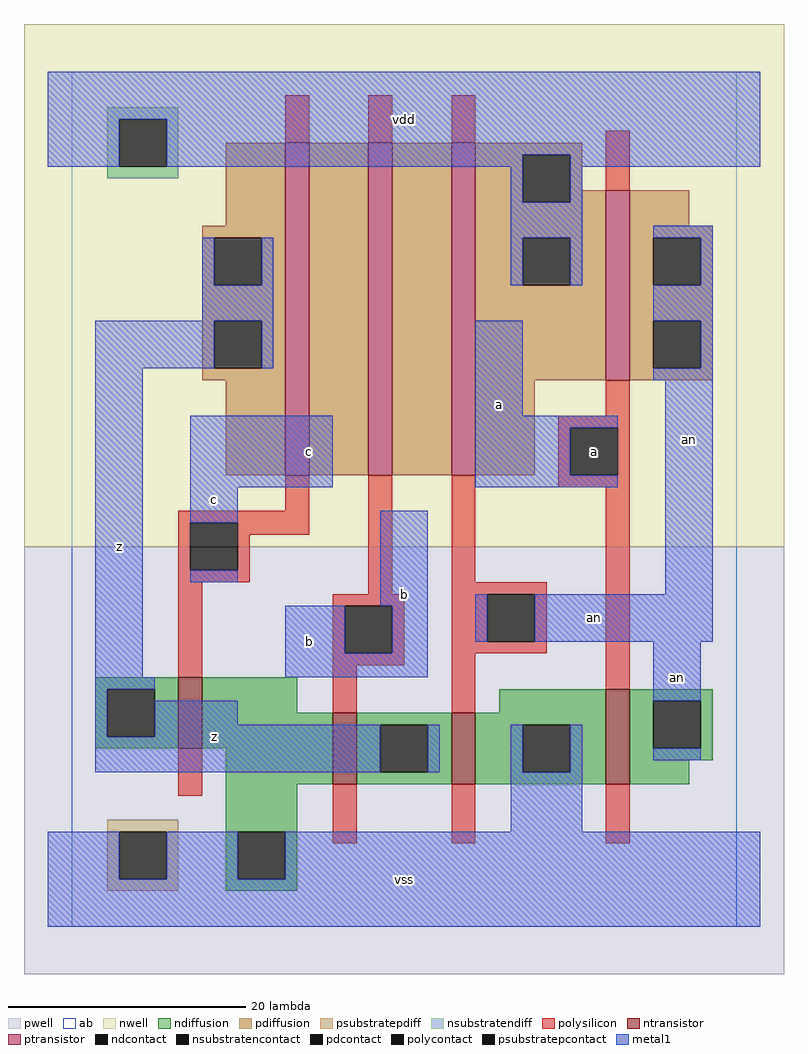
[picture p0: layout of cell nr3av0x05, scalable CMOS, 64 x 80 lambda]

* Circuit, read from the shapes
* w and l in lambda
.subckt nr3av0x05 a an b c vdd vss z
M1 vss c z vss nfet w=6 l=2
M2 z b vss vss nfet w=6 l=2
M3 vss an z vss nfet w=6 l=2
M4 an a vss vss nfet w=8 l=2
M5 n1 c z vdd pfet w=28 l=2
M6 n2 b n1 vdd pfet w=28 l=2
M7 vdd an n2 vdd pfet w=28 l=2
M8 an a vdd vdd pfet w=16 l=2
.ends

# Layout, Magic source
magic
tech scmos
<< ab >>
rect 0 0 56 72
<< pwell >>
rect -4 -4 60 32
<< nwell >>
rect -4 32 60 76
<< polysilicon >>
rect 18 66 20 70
rect 25 66 27 70
rect 32 66 34 70
rect 45 62 47 67
rect 45 43 47 46
rect 41 42 47 43
rect 41 38 42 42
rect 46 38 47 42
rect 18 35 20 38
rect 9 34 20 35
rect 9 30 10 34
rect 14 33 20 34
rect 14 30 15 33
rect 9 29 15 30
rect 9 21 11 29
rect 25 28 27 38
rect 32 29 34 38
rect 41 37 47 38
rect 32 28 40 29
rect 22 27 28 28
rect 22 23 23 27
rect 27 23 28 27
rect 22 22 28 23
rect 32 24 35 28
rect 39 24 40 28
rect 32 23 40 24
rect 22 18 24 22
rect 32 18 34 23
rect 45 20 47 37
rect 9 11 11 15
rect 22 7 24 12
rect 32 7 34 12
rect 45 7 47 12
<< ndiffusion >>
rect 2 20 9 21
rect 2 16 3 20
rect 7 16 9 20
rect 2 15 9 16
rect 11 18 19 21
rect 36 18 45 20
rect 11 15 22 18
rect 13 12 22 15
rect 24 17 32 18
rect 24 13 26 17
rect 30 13 32 17
rect 24 12 32 13
rect 34 17 45 18
rect 34 13 38 17
rect 42 13 45 17
rect 34 12 45 13
rect 47 19 54 20
rect 47 15 49 19
rect 53 15 54 19
rect 47 14 54 15
rect 47 12 52 14
rect 13 8 19 12
rect 13 4 14 8
rect 18 4 19 8
rect 13 3 19 4
<< pdiffusion >>
rect 13 59 18 66
rect 11 58 18 59
rect 11 54 12 58
rect 16 54 18 58
rect 11 51 18 54
rect 11 47 12 51
rect 16 47 18 51
rect 11 46 18 47
rect 13 38 18 46
rect 20 38 25 66
rect 27 38 32 66
rect 34 65 43 66
rect 34 61 38 65
rect 42 62 43 65
rect 42 61 45 62
rect 34 58 45 61
rect 34 54 38 58
rect 42 54 45 58
rect 34 46 45 54
rect 47 59 52 62
rect 47 58 54 59
rect 47 54 49 58
rect 53 54 54 58
rect 47 51 54 54
rect 47 47 49 51
rect 53 47 54 51
rect 47 46 54 47
rect 34 38 39 46
<< metal1 >>
rect -2 68 58 72
rect -2 64 4 68
rect 8 65 58 68
rect 8 64 38 65
rect 37 61 38 64
rect 42 64 58 65
rect 42 61 43 64
rect 37 58 43 61
rect 11 54 12 58
rect 16 54 17 58
rect 37 54 38 58
rect 42 54 43 58
rect 49 58 54 59
rect 53 54 54 58
rect 11 51 17 54
rect 49 51 54 54
rect 2 47 12 51
rect 16 47 17 51
rect 2 21 6 47
rect 34 43 38 51
rect 53 47 54 51
rect 49 46 54 47
rect 10 37 22 43
rect 34 42 46 43
rect 34 38 42 42
rect 34 37 46 38
rect 10 34 14 37
rect 10 29 14 30
rect 26 27 30 35
rect 50 28 54 46
rect 18 23 23 27
rect 27 23 30 27
rect 34 24 35 28
rect 39 24 54 28
rect 18 21 30 23
rect 2 20 7 21
rect 2 16 3 20
rect 49 19 53 24
rect 7 17 14 19
rect 7 16 26 17
rect 2 13 26 16
rect 30 13 31 17
rect 37 13 38 17
rect 42 13 43 17
rect 49 14 53 15
rect 37 8 43 13
rect -2 4 4 8
rect 8 4 14 8
rect 18 4 58 8
rect -2 0 58 4
<< ntransistor >>
rect 9 15 11 21
rect 22 12 24 18
rect 32 12 34 18
rect 45 12 47 20
<< ptransistor >>
rect 18 38 20 66
rect 25 38 27 66
rect 32 38 34 66
rect 45 46 47 62
<< polycontact >>
rect 42 38 46 42
rect 10 30 14 34
rect 23 23 27 27
rect 35 24 39 28
<< ndcontact >>
rect 3 16 7 20
rect 26 13 30 17
rect 38 13 42 17
rect 49 15 53 19
rect 14 4 18 8
<< pdcontact >>
rect 12 54 16 58
rect 12 47 16 51
rect 38 61 42 65
rect 38 54 42 58
rect 49 54 53 58
rect 49 47 53 51
<< psubstratepcontact >>
rect 4 4 8 8
<< nsubstratencontact >>
rect 4 64 8 68
<< psubstratepdiff >>
rect 3 8 9 9
rect 3 4 4 8
rect 8 4 9 8
rect 3 3 9 4
<< nsubstratendiff >>
rect 3 68 9 69
rect 3 64 4 68
rect 8 64 9 68
rect 3 63 9 64
<< labels >>
rlabel metal1 4 32 4 32 6 z
rlabel metal1 12 16 12 16 6 z
rlabel metal1 20 24 20 24 6 b
rlabel metal1 20 40 20 40 6 c
rlabel metal1 12 36 12 36 6 c
rlabel metal1 28 4 28 4 6 vss
rlabel metal1 28 28 28 28 6 b
rlabel metal1 36 44 36 44 6 a
rlabel metal1 28 68 28 68 6 vdd
rlabel metal1 51 21 51 21 6 an
rlabel metal1 44 26 44 26 6 an
rlabel polycontact 44 40 44 40 6 a
rlabel metal1 52 41 52 41 6 an
<< end >>
